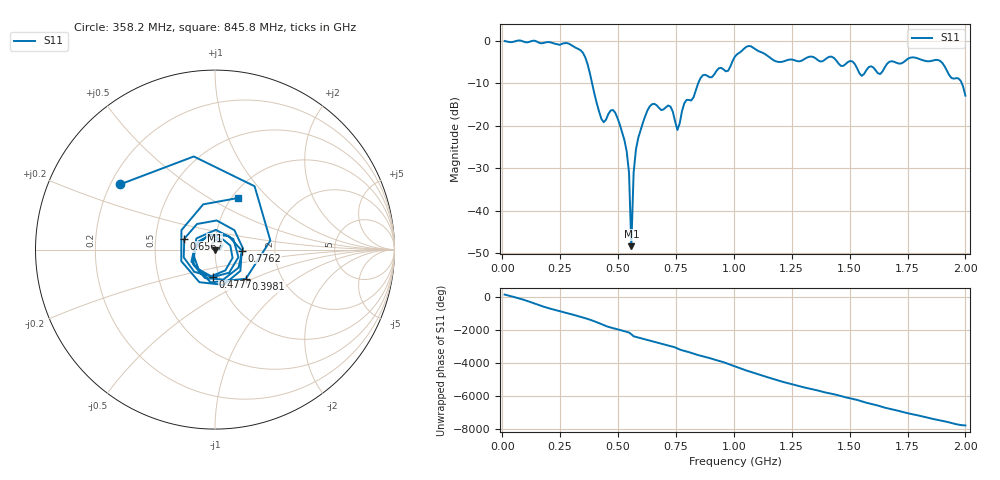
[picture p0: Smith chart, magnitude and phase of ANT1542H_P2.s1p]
!Created with skrf (http://scikit-rf.org).
# Hz S RI R 50.0
!freq ReS11 ImS11
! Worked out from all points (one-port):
!   201 points, 10 MHz to 2 GHz, reference 50 ohm
!   lowest |S11| = -48.3 dB at 557.2 MHz (marker M1), VSWR 1.01, Z = 49.9 - j0.36 ohm
!   |S11| at or under -10 dB: 387.7 MHz to 845.9 MHz (458.2 MHz wide, 74.3 % of centre); 1.984 GHz to end of sweep
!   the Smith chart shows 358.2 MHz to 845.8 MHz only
!   S11 on the Smith chart (normalised r, x): 358.2 MHz: 0.24, +0.30; 398.1 MHz: 1.33, -0.46; 477.6 MHz: 0.93, -0.29; 656.8 MHz: 0.70, +0.09; 776.1 MHz: 1.35, -0.01; 845.8 MHz: 1.07, +0.68
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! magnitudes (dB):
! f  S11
! 10 MHz  0.0
! 258.8 MHz  -0.7
! 358.2 MHz  -3.9
! 398.1 MHz  -12.5
! 437.9 MHz  -19.2
! 477.6 MHz  -16.3
! 507.5 MHz  -19.7
! 537.4 MHz  -26.1
! 547.3 MHz  -31.1
! 557.2 MHz  -48.3
! 567.2 MHz  -31.0
! 577.1 MHz  -25.6
! 626.9 MHz  -16.4
! 656.8 MHz  -14.8
! 726.4 MHz  -15.5
! 756.2 MHz  -21.0
! 776.1 MHz  -16.5
! 845.8 MHz  -10.0
! 975.1 MHz  -7.0
! 1.005 GHz  -3.7
! 1.065 GHz  -1.2
! 1.254 GHz  -4.4
! 1.502 GHz  -4.7
! 1.552 GHz  -8.2
! 1.751 GHz  -4.2
! 1.891 GHz  -4.7
! 1.98 GHz  -9.4
! 2 GHz  -12.9
